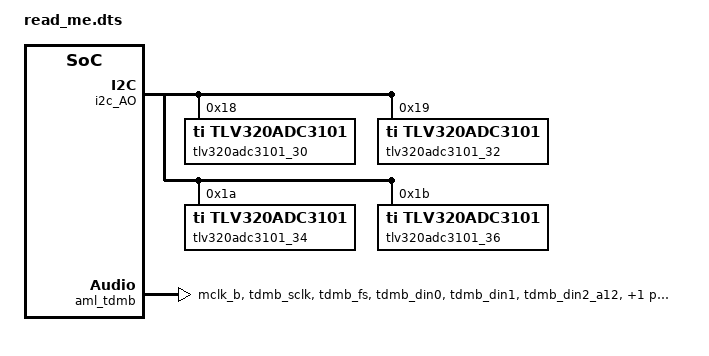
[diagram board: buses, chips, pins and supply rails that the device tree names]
	auge_sound {
		compatible = "amlogic, axg-sound-card";
		aml-audio-card,name = "AML-AUGESOUND";

		aml-audio-card,dai-link@1 {
			format = "i2s";
			mclk-fs = <256>;
			//continuous-clock;
			//bitclock-inversion;
			//frame-inversion;
			bitclock-master = <&aml_tdmb>;
			frame-master = <&aml_tdmb>;
			cpu {
				sound-dai = <&aml_tdmb>;
				dai-tdm-slot-tx-mask = <1 1>;
				dai-tdm-slot-rx-mask = <1 1>;
				dai-tdm-slot-num = <2>;
				dai-tdm-slot-width = <32>;
				system-clock-frequency = <12288000>;
			};
			codec {
		      	prefix-names = "3101_A", "3101_B", "3101_C", "3101_D";
				sound-dai = <&tlv320adc3101_32 &tlv320adc3101_30 &tlv320adc3101_34 &tlv320adc3101_36>;
			};
		};
	};

&i2c_AO {
	status = "okay";
	pinctrl-names="default";
	pinctrl-0=<&ao_i2c_master_pin2>;

	tlv320adc3101_30: tlv320adc3101_30@30 {
		compatible = "ti,tlv320adc3101";
		#sound-dai-cells = <0>;
		reg = <0x18>;
		status = "okay";
	};
	tlv320adc3101_32: tlv320adc3101_32@32 {
		compatible = "ti,tlv320adc3101";
		#sound-dai-cells = <0>;
		reg = <0x19>;
		status = "okay";
	};
	tlv320adc3101_34: tlv320adc3101_34@30 {
		compatible = "ti,tlv320adc3101";
		#sound-dai-cells = <0>;
		reg = <0x1a>;
		status = "okay";
	};
	tlv320adc3101_36: tlv320adc3101_36@30 {
		compatible = "ti,tlv320adc3101";
		#sound-dai-cells = <0>;
		reg = <0x1b>;
		status = "okay";
	};
};

&audiobus {
	aml_tdmb: tdmb {
		compatible = "amlogic, axg-snd-tdmb";
		#sound-dai-cells = <0>;
		dai-tdm-lane-slot-mask-in = <1 1 1 1>;
		dai-tdm-lane-slot-mask-out = <0 0 0 0>;
		dai-tdm-clk-sel = <1>;
		clocks = <&clkaudio CLKID_AUDIO_MCLK_B
				&clkc CLKID_MPLL1>;
		clock-names = "mclk", "clk_srcpll";
		pinctrl-names = "tdm_pins";
		pinctrl-0 = <&tdmb_mclk &tdmout_b &tdmin_b>;
	};
}; /* end of audiobus */

&pinctrl_periphs {
	tdmb_mclk: tdmb_mclk {
		mux {
			groups = "mclk_b";
			function = "mclk_b";
		};
	};

	tdmout_b: tdmout_b {
		mux {
			groups = "tdmb_sclk",
				"tdmb_fs";
			function = "tdmb_out";
		};
	};

	tdmin_b_slv: tdmin_b_slv{
		mux {
			groups = "tdmb_slv_sclk", "tdmb_slv_fs";
			function = "tdmb_in";
		};
	};

	// tdmin and tdmout are the same pins. can't use at same time
	tdmin_b:tdmin_b {
		mux {
			groups = "tdmb_din0",
				"tdmb_din1",
				"tdmb_din2_a12",
				"tdmb_din3_a13";
			function = "tdmb_in";
		};
	};

}; /* end of pinctrl_periphs */
